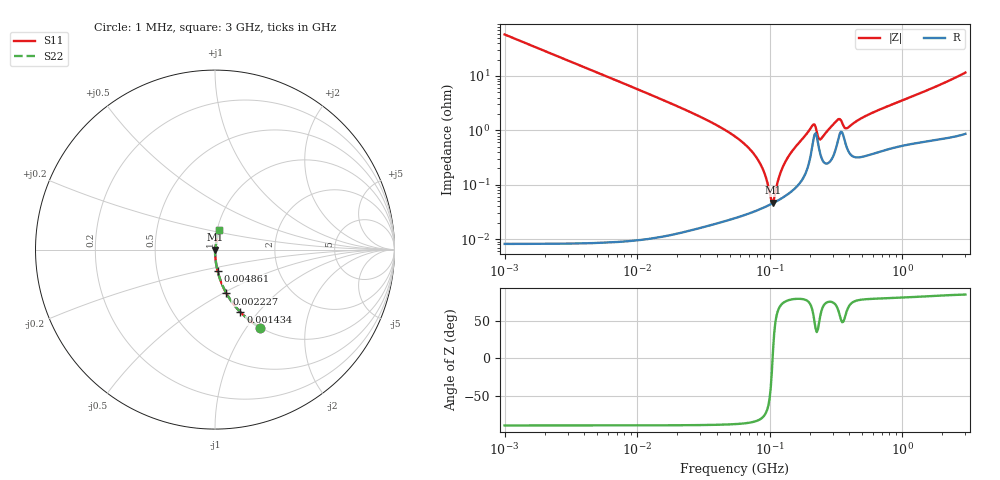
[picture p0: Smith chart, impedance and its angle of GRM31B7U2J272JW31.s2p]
!Murata Part Number: GRM31B7U2J272JW31
!These Parameters are Measured in Series Mode Connection
!Data Generated on Mar 30, 2021
!  o--ll--o
!Port1  Port2
!  o------o
!Operation Temp=25[degC], DC Bias Voltage=0[V]
!Freq. Start=1000[kHz] Stop=3[GHz] 401[Steps]
# Hz S RI R 50
!Freq.(Hz) S11(Real) S11(Imag) S21(Real) S21(Imag) S12(Real) S12(Imag) S22(Real) S22(Imag)
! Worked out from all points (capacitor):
!   401 points, 1 MHz to 3 GHz, reference 50 ohm
!   read as one part in series: C = 2.74 nF near 1.041 MHz
!   lowest |Z| = 46.7 mohm at 106 MHz (marker M1)
!   series resonance near 105.2 MHz, so ESL is about 840 pH
!   S11 on the Smith chart (normalised r, x): 1 MHz: 1.00, -1.16; 1.434 MHz: 1.00, -0.81; 2.227 MHz: 1.00, -0.52; 4.861 MHz: 1.00, -0.24; 3 GHz: 1.02, +0.23
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1000000  0.2527 -0.4345  0.7473 0.4345  0.7473 0.4345  0.2527 -0.4345
1433740  0.1413 -0.3482  0.8587 0.3482  0.8587 0.3482  0.1413 -0.3482
2226959  0.0639 -0.2443  0.9361 0.2443  0.9361 0.2443  0.0639 -0.2443
3823119  0.0226 -0.1485  0.9774 0.1485  0.9774 0.1485  0.0226 -0.1485
4861065  0.0141 -0.1177  0.9859 0.1177  0.9859 0.1177  0.0141 -0.1177
1.461624e7  0.00163 -0.0389  0.9984 0.0389  0.9984 0.0389  0.00163 -0.0389
5.477226e7  0.000303 -0.00775  0.9997 0.00775  0.9997 0.00775  0.000303 -0.00775
6.964249e7  0.000318 -0.00471  0.9997 0.00471  0.9997 0.00471  0.000318 -0.00471
8.173662e7  0.000351 -0.00285  0.9996 0.00285  0.9996 0.00285  0.000351 -0.00285
9.216659e7  0.000391 -0.00149  0.9996 0.00149  0.9996 0.00149  0.000391 -0.00149
1.018679e8  0.000437 -0.000367  0.9996 0.000367  0.9996 0.000367  0.000437 -0.000367
1.060286e8  0.000459 8.39e-05  0.9995 -8.39e-05  0.9995 -8.39e-05  0.000459 8.39e-05
1.195584e8  0.000542 0.00146  0.9995 -0.00146  0.9995 -0.00146  0.000542 0.00146
1.321429e8  0.000637 0.00265  0.9994 -0.00265  0.9994 -0.00265  0.000637 0.00265
2.094008e8  0.00504 0.011  0.995 -0.011  0.995 -0.011  0.00504 0.011
2.179536e8  0.00837 0.00959  0.9916 -0.00959  0.9916 -0.00959  0.00837 0.00959
2.361213e8  0.00462 0.00507  0.9954 -0.00507  0.9954 -0.00507  0.00462 0.00507
2.457655e8  0.00319 0.00633  0.9968 -0.00633  0.9968 -0.00633  0.00319 0.00633
3.252521e8  0.0062 0.0142  0.9938 -0.0142  0.9938 -0.0142  0.0062 0.0142
3.817355e8  0.00496 0.00968  0.995 -0.00968  0.995 -0.00968  0.00496 0.00968
8.005644e8  0.00533 0.028  0.9947 -0.028  0.9947 -0.028  0.00533 0.028
3e9  0.0214 0.112  0.9786 -0.112  0.9786 -0.112  0.0214 0.112
